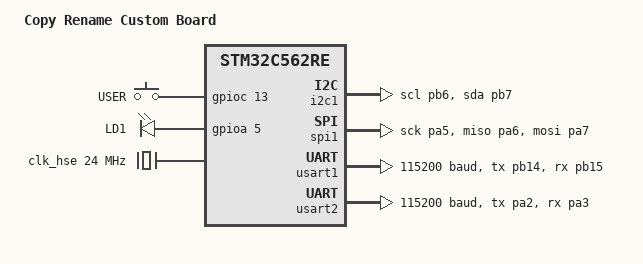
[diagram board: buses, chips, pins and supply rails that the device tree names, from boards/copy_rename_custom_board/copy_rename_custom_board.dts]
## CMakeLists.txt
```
cmake_minimum_required(VERSION 3.20.0)

list(APPEND BOARD_ROOT ${CMAKE_CURRENT_SOURCE_DIR})
find_package(Zephyr REQUIRED)
project(my_zephyr_app)

target_sources(app PRIVATE src/main.cpp)

zephyr_include_directories(include)

add_subdirectory(drivers/our_driver)
add_subdirectory(drivers/l6task1_led_driver)
```

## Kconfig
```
# =======================================================================================
# KCONFIG CRASH COURSE (Zephyr RTOS)
# Official Docs: https://docs.zephyrproject.org/latest/build/kconfig/index.html
# Linux Kconfig Docs: https://www.kernel.org/doc/html/latest/kbuild/kconfig-language.html
# =======================================================================================

# 'menuconfig' defines a configuration symbol (just like 'config') but it ALSO 
# creates a collapsible folder in the UI (guiconfig/menuconfig). 
# If the user disables this (sets to 'n'), everything inside the menu is hidden.
menuconfig LED_SUBSYSTEM
    # 'bool' defines the data type (y/n). 
    # The string "LED Subsystem" is the prompt displayed to the user in the UI.
    bool "LED Subsystem"
    # 'default' sets the initial value. 'y' means it is enabled by default.
    default n

# 'if' blocks apply a dependency to everything inside them. 
# The following options will only be evaluated and visible if LED_SUBSYSTEM is 'y'.
if LED_SUBSYSTEM

    # 'choice' creates a radio-button style list. 
    # The user can only select exactly ONE of the options inside this block.
    choice
        # 'prompt' is the title of this choice block in the UI.
        prompt "LED Blink Sleep Time"
        # The default selection for this choice block.
        default BLINK_SLEEP_1000MS

    # 'config' defines a standard configuration symbol. 
    # In C code, this will become CONFIG_BLINK_SLEEP_250MS.
    config BLINK_SLEEP_250MS
        bool "Fast (250 ms)"
        
    config BLINK_SLEEP_1000MS
        bool "Medium (1000 ms)"
        
    config BLINK_SLEEP_2000MS
        bool "Slow (2000 ms)"
    endchoice # Ends the radio-button block

    # This config has no prompt string after 'int', meaning it is INVISIBLE in the UI.
    # It acts as a background variable that automatically calculates a value 
    # based on the user's selection in the 'choice' block above.
    config BLINK_SLEEP_TIME_MS
        # 'int' sets the data type to an integer.
        int
        # It assigns a specific integer value based on which boolean is true.
        default 250 if BLINK_SLEEP_250MS
        default 1000 if BLINK_SLEEP_1000MS
        default 2000 if BLINK_SLEEP_2000MS
        # Fallback default if none of the above are true.
        default 0
    
    # Another collapsible menu, nested inside the LED_SUBSYSTEM.
    menuconfig ADVANCED_LED_SETTINGS
        bool "Advanced LED Settings"
        default n # Disabled by default

    # Everything below depends on the user enabling ADVANCED_LED_SETTINGS.
    if ADVANCED_LED_SETTINGS
        
        config LED_Brightness
            int "LED Brightness (0-100)"
            default 100
            # 'range' restricts the user input for an 'int' or 'hex' type.
            # If the user tries to enter 101, the config system will reject it.
            range 0 100
        
        config LED_Fade_Duration
            int "LED Fade Duration (ms)"
            default 500
            range 0 5000
        
        config Expert_Settings
            bool "Expert Settings"
            default n
        
        # 'menu' creates a purely visual folder in the UI. 
        # Unlike 'menuconfig', a 'menu' does NOT have its own y/n state or CONFIG_ macro.
        menu "Expert Settings"
            # 'visible if' completely hides this folder from the UI unless 
            # the 'Expert_Settings' boolean (defined above) is set to 'y'.
            visible if Expert_Settings

            config ENABLE_LED_DEBUGGING
                bool "Enable LED Debugging"
                default n
            
            config CUSTOM_LED_PATTERN
                # 'string' defines a text input data type. 
                # In C code, CONFIG_CUSTOM_LED_PATTERN will equal "10101010".
                string "Custom LED Pattern"
                default "10101010"
                
        endmenu # Ends the visual folder
    endif # Ends the ADVANCED_LED_SETTINGS block

endif # Ends the LED_SUBSYSTEM block

menuconfig APP_HEARTBEAT
    bool "Application Heartbeat"
    default y

if APP_HEARTBEAT
    config APP_HEARTBEAT_PERIOD_MS
        int "Heartbeat Interval (ms)"
        default 500
        range 100 2000
endif # Ends the APP_HEARTBEAT block

# 'source' imports another Kconfig file at this exact location, acting like an #include in C.
# This specific line imports the main Zephyr configuration tree, making all standard
# Zephyr OS configurations (like kernel, drivers, etc.) available in the project.
source "Kconfig.zephyr"

rsource "drivers/our_driver/Kconfig"
rsource "drivers/l6task1_led_driver/Kconfig"
```

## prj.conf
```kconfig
CONFIG_GPIO=y
CONFIG_LOG=y
CONFIG_OUR_DRIVER=y
CONFIG_L6TASK1_ON_BOARD_LED_DRIVER=y
CONFIG_SENSOR=y
CONFIG_SHELL=y
CONFIG_L7_TASK2_SHELL=y
```

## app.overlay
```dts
/{
	aliases {
		app-led = &green_led_1;
	};
  
	our_driver0: our_driver{
		compatible = "our,driver";
		status = "okay";
	};

	our_driver1: our_driver1{
		compatible = "our,driver";
		status = "okay";
	};

	l6task1_on_board_led: led_sensor{
		compatible = "l6task1,on-board-led";
		status = "okay";
		gpios = <&gpioa 5 GPIO_ACTIVE_HIGH>;
	};
};

&leds{
	green_led_1: led_1 {
		gpios = <&gpioa 5 GPIO_ACTIVE_HIGH>;
		label = "LD1";
	};
};
```

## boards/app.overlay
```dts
/{
	aliases {
		app-led = &green_led_1;
	};
};
```

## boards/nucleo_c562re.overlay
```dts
/{
	leds {
		red_led: led_0 {
			gpios = <&gpioa 5 GPIO_ACTIVE_LOW>;
		};

		blue_led: led_2 {
			gpios = <&gpioa 5 GPIO_ACTIVE_HIGH>;
		};
	};
};
```

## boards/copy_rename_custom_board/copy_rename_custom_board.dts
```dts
/*
 * Copyright (c) 2026 STMicroelectronics
 *
 * SPDX-License-Identifier: Apache-2.0
 */

/dts-v1/;
#include <st/c5/stm32c562Xe.dtsi>
#include <st/c5/stm32c5(5-6)2r(c-e)tx-pinctrl.dtsi>
#include <zephyr/dt-bindings/input/input-event-codes.h>
#include "arduino_r3_connector.dtsi"
#include "st_morpho_connector.dtsi"

/ {
	model = "Copy Rename Custom Board";
	compatible = "st,stm32c562re-nucleo";

	#address-cells = <1>;
	#size-cells = <1>;

	chosen {
		zephyr,console = &usart2;
		zephyr,shell-uart = &usart2;
		zephyr,sram = &sram1;
		zephyr,flash = &flash0;
	};

	aliases {
		app-led = &green_led_1;
		sw0 = &user_button;
	};

	gpio_keys {
		compatible = "gpio-keys";

		user_button: button {
			label = "USER";
			gpios = <&gpioc 13 GPIO_ACTIVE_HIGH>;
			zephyr,code = <INPUT_KEY_0>;
		};
	};

	leds: leds {
		compatible = "gpio-leds";

		green_led_1: led_1 {
			/* LD1 may conflict with SPI1 SCK on PA5 */
			gpios = <&gpioa 5 GPIO_ACTIVE_HIGH>;
			label = "LD1";
		};
	};
};

&clk_hse {
	clock-frequency = <DT_FREQ_M(24)>;
	status = "okay";
};

&clk_psis {
	clock-frequency = <DT_FREQ_M(144)>;
	status = "okay";
};

&flash0 {
	partitions {
		compatible = "fixed-partitions";
		#address-cells = <1>;
		#size-cells = <1>;

		boot_partition: partition@0 {
			label = "mcuboot";
			reg = <0x00000000 DT_SIZE_K(48)>;
		};

		slot0_partition: partition@c000 {
			label = "image-0";
			reg = <0x0000c000 DT_SIZE_K(216)>;
		};

		slot1_partition: partition@42000 {
			label = "image-1";
			reg = <0x00042000 DT_SIZE_K(224)>;
		};

		storage_partition: partition@7a000 {
			label = "storage";
			reg = <0x0007a000 DT_SIZE_K(24)>;
		};
	};
};

&i2c1 {
	pinctrl-0 = <&i2c1_scl_pb6 &i2c1_sda_pb7>;
	pinctrl-names = "default";
	status = "okay";
};

&rcc {
	clocks = <&clk_psis>;
	clock-frequency = <DT_FREQ_M(144)>;
	ahb-prescaler = <1>;
	apb1-prescaler = <2>;
	apb2-prescaler = <2>;
	apb3-prescaler = <2>;
	st,psi-frequency = <144>;
	st,psi-source = "HSE";
};

&spi1 {
	/* SPI1 SCK may conflict with LD1 (Green LED) on PA5 */
	pinctrl-0 = <&spi1_sck_pa5 &spi1_miso_pa6 &spi1_mosi_pa7>;
	pinctrl-names = "default";
	cs-gpios = <&gpioc 9 (GPIO_ACTIVE_LOW | GPIO_PULL_UP)>;
	status = "okay";
};

&usart1 {
	pinctrl-0 = <&usart1_tx_pb14 &usart1_rx_pb15>;
	pinctrl-names = "default";
	current-speed = <115200>;
	status = "okay";
};

&usart2 {
	pinctrl-0 = <&usart2_tx_pa2 &usart2_rx_pa3>;
	pinctrl-names = "default";
	current-speed = <115200>;
	status = "okay";
};
```

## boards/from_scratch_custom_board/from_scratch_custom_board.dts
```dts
/dts-v1/;
#include <st/c5/stm32c562Xe.dtsi>
#include <st/c5/stm32c5(5-6)2r(c-e)tx-pinctrl.dtsi>

/ {
	model = "iomico_from_scratch_custom_board";
	compatible = "iomico,from_scratch_custom_board";

	aliases {
		app-led = &green_led_1;
	};

	chosen {
		zephyr,console = &usart2;
		zephyr,shell-uart = &usart2;
		zephyr,sram = &sram1;
		zephyr,flash = &flash0;
	};

	leds{
		compatible = "gpio-leds";

		green_led_1: led_1 {
			/* LD1 may conflict with SPI1 SCK on PA5 */
			gpios = <&gpioa 5 GPIO_ACTIVE_HIGH>;
			label = "LD1";
		};
	};
};

&flash0 {
	partitions {
		compatible = "fixed-partitions";
		#address-cells = <1>;
		#size-cells = <1>;

		boot_partition: partition@0 {
			label = "mcuboot";
			reg = <0x00000000 DT_SIZE_K(48)>;
		};

		slot0_partition: partition@c000 {
			label = "image-0";
			reg = <0x0000c000 DT_SIZE_K(216)>;
		};

		slot1_partition: partition@42000 {
			label = "image-1";
			reg = <0x00042000 DT_SIZE_K(224)>;
		};

		storage_partition: partition@7a000 {
			label = "storage";
			reg = <0x0007a000 DT_SIZE_K(24)>;
		};
	};
};

&rcc {
	clocks = <&clk_psis>;
	clock-frequency = <DT_FREQ_M(144)>;
	ahb-prescaler = <1>;
	apb1-prescaler = <2>;
	apb2-prescaler = <2>;
	apb3-prescaler = <2>;
	st,psi-frequency = <144>;
	st,psi-source = "HSE";
};

&clk_psis {
	clock-frequency = <DT_FREQ_M(144)>;
	status = "okay";
};

&clk_hse {
	clock-frequency = <DT_FREQ_M(24)>;
	status = "okay";
};

&usart2 {
	pinctrl-0 = <&usart2_tx_pa2 &usart2_rx_pa3>;
	pinctrl-names = "default";
	current-speed = <115200>;
	status = "okay";
};
```

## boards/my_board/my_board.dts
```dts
/dts-v1/;
#include <st/c5/stm32c562Xe.dtsi>


/ {
	model = "iomico_my_board";
	compatible = "iomico,my_board";

	aliases {
		app-led = &green_led_1;
	};

	chosen {
		zephyr,sram = &sram1;
		zephyr,flash = &flash0;
	};

	leds{
		compatible = "gpio-leds";

		green_led_1: led_1 {
			/* LD1 may conflict with SPI1 SCK on PA5 */
			gpios = <&gpioa 5 GPIO_ACTIVE_HIGH>;
			label = "LD1";
		};
	};
};

&flash0 {
	partitions {
		compatible = "fixed-partitions";
		#address-cells = <1>;
		#size-cells = <1>;

		boot_partition: partition@0 {
			label = "mcuboot";
			reg = <0x00000000 DT_SIZE_K(48)>;
		};

		slot0_partition: partition@c000 {
			label = "image-0";
			reg = <0x0000c000 DT_SIZE_K(216)>;
		};

		slot1_partition: partition@42000 {
			label = "image-1";
			reg = <0x00042000 DT_SIZE_K(224)>;
		};

		storage_partition: partition@7a000 {
			label = "storage";
			reg = <0x0007a000 DT_SIZE_K(24)>;
		};
	};
};

&rcc {
	clocks = <&clk_psis>;
	clock-frequency = <DT_FREQ_M(144)>;
	ahb-prescaler = <1>;
	apb1-prescaler = <2>;
	apb2-prescaler = <2>;
	apb3-prescaler = <2>;
	st,psi-frequency = <144>;
	st,psi-source = "HSE";
};

&clk_psis {
	clock-frequency = <DT_FREQ_M(144)>;
	status = "okay";
};

&clk_hse {
	clock-frequency = <DT_FREQ_M(24)>;
	status = "okay";
};
```

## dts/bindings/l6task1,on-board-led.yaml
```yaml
description: Simple LED driver for the STM32 C562RE board

compatible: "l6task1,on-board-led"

properties:
  gpios:
    type: phandle-array
    required: true
    description: GPIO pin used to control the on-board LED

  led-color:
    type: string
    description: User LED Yellow
```

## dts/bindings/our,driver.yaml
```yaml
description: Custom Demo Sensor Driver

compatible: "our,driver"

include: base.yaml
```

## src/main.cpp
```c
#include <zephyr/drivers/gpio.h>
#include <zephyr/kernel.h>
#include <zephyr/logging/log.h>
#include <zephyr/drivers/sensor.h>

#include "custom_api_led_sensor.h"

// // #define SLEEP_TIME_MS 500

// /* The devicetree node identifier for the "led0" alias. */
// // #define LED_NODE DT_NODELABEL(red_led)

// #define LED_NODE DT_PATH(leds, led_2)

// // #define APP_LED DT_ALIAS(app_led)

// // #define CONFIG_APP_HEARTBEAT_PERIOD_MS 

// static const struct gpio_dt_spec led = GPIO_DT_SPEC_GET(LED_NODE, gpios);

LOG_MODULE_REGISTER(main, LOG_LEVEL_INF);

// Enable this namespace for l4 and l5 tasks.

// namespace{
//     void test(){
//         const struct device* driver = DEVICE_DT_GET(DT_NODELABEL(our_driver0));
//         // const struct device* driver = DEVICE_DT_GET(DT_INST(0, our_driver));
//         struct sensor_value val;
//         auto ret = sensor_channel_get(driver, SENSOR_CHAN_AMBIENT_TEMP, &val);
//         LOG_INF("sensor_channel_get returned: %d", ret);
//     }
// }

// int main(void)
// {
//     test();
//     bool led_state = true;

//     if (!gpio_is_ready_dt(&led)) return 0;

//     if (gpio_pin_configure_dt(&led, GPIO_OUTPUT_ACTIVE) < 0) return 0;

//     while (1) {
//         if (gpio_pin_toggle_dt(&led) < 0) return 0;

//         led_state = !led_state;
//         LOG_INF("LED state: %s", led_state ? "ON" : "OFF");
//         k_msleep(CONFIG_APP_HEARTBEAT_PERIOD_MS);
//     }
//     return 0;
// }

// // Enable this below int main for l6task1 and l6task2.
// int main(void)
// {
//     const struct device *led_sensor = DEVICE_DT_GET_ANY(l6task1_on_board_led);

//     struct sensor_value val;

//     if(!device_is_ready(led_sensor)) {
//         LOG_ERR("LED sensor device is not ready");
//         return -ENODEV;
//     }

//     while(1)
//     {
//         sensor_sample_fetch(led_sensor);
//         k_msleep(1000);

//         on_board_led_sensor_set_param(led_sensor, k_uptime_get_32());

//         sensor_channel_get(led_sensor, SENSOR_CHAN_ALL, &val);
//         k_msleep(1000);

//         // LOG_INF("Sensor value: %d.%06d", val.val1, val.val2);
//     }
//     return 0;
// }

// Enable this below int main for l7task1.
int main(void)
{
    const struct device *led_sensor = DEVICE_DT_GET_ANY(l6task1_on_board_led);

    if(!device_is_ready(led_sensor)) {
        LOG_ERR("LED sensor device is not ready");
        return -ENODEV;
    }

    LOG_INF("LED Sensor initialized. Awaiting shell commands...");
    LOG_INF("Type 'sensorroot fetch' to turn ON, 'sensorroot read' to turn OFF.");

    /* 
     * The main thread now just sleeps forever. 
     * The Zephyr shell runs in its own background thread, 
     * allowing you to trigger the sensor driver manually.
     */
    while(1)
    {
        k_sleep(K_FOREVER);
    }
    
    return 0;
}
```

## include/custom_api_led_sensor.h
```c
#ifndef CUSTOM_API_LED_SENSOR_H
#define CUSTOM_API_LED_SENSOR_H

#include <zephyr/device.h>

#ifdef __cplusplus
extern "C" {
#endif

/* Ensure this exact name matches the definition in your driver's .c file */
void on_board_led_sensor_set_param(const struct device *dev, unsigned int new_param);

#ifdef __cplusplus
}
#endif

#endif // CUSTOM_API_LED_SENSOR_H
```
